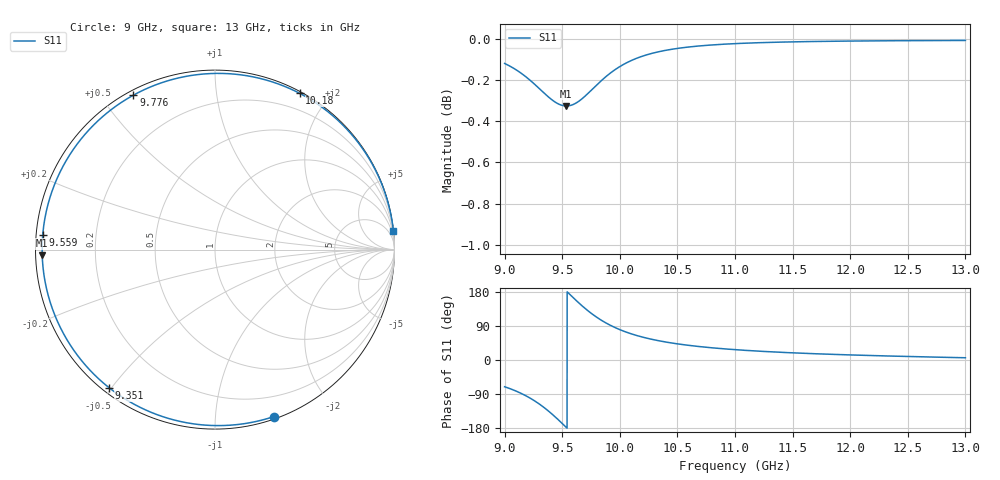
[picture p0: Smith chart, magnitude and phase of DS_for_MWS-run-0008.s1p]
! TOUCHSTONE file generated by CST DESIGN STUDIO
! Date and time: Tue Feb  4 18:14:37 2025
! Project name: C:\Work\MatlabApps\UnitCellOptimizationMatlab\CST\unitcell.cst
! Tree item: Tasks\Sweep1\SPara1\S-Parameters
! Header version: 2024
! Port assignment regex: !\s*Touchstone port\s*([0-9]+)\s*=\s*(CST MWS port|CST DES external port|CST DES block port)\s*(.+)\s* \(\"(.*)\"\)(\s*mode\s*([0-9]+))?.*
! Touchstone port assignment:
! Touchstone port 1 = CST DES external port 1 ("")
# GHz S MA R 50
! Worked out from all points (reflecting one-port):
!   4001 points, 9 GHz to 13 GHz, reference 50 ohm
!   lowest |S11| = -0.3 dB at 9.536 GHz (marker M1), VSWR 53.37, Z = 0.937 - j0.843 ohm
!   phase of S11 starts at -71 deg and turns -284 deg over the sweep
!   S11 on the Smith chart (normalised r, x): 9 GHz: 0.02, -1.41; 9.351 GHz: 0.02, -0.49; 9.559 GHz: 0.02, +0.04; 9.776 GHz: 0.02, +0.60; 10.18 GHz: 0.02, +1.68; 13 GHz: 0, +19
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9  0.9864 -70.6
9.099  0.9829 -82.0
9.207  0.9779 -98.1
9.283  0.9737 -112.3
9.351  0.9697 -127.4
9.422  0.966 -145.5
9.463  0.9644 -156.8
9.5  0.9635 -167.5
9.536  0.9632 -178.1
9.559  0.9633 175.1
9.613  0.9645 159.4
9.674  0.9672 142.5
9.725  0.9701 129.6
9.776  0.9732 117.8
9.823  0.976 108.1
9.875  0.9789 98.6
9.933  0.9818 89.3
10  0.9847 80.1
10.088  0.9877 70.2
10.183  0.9901 61.6
10.328  0.9928 51.4
10.5  0.9947 42.6
10.721  0.9963 34.5
11  0.9974 27.3
11.5  0.9984 18.9
12  0.9989 13.4
12.5  0.9991 9.3
13  0.9992 5.9
